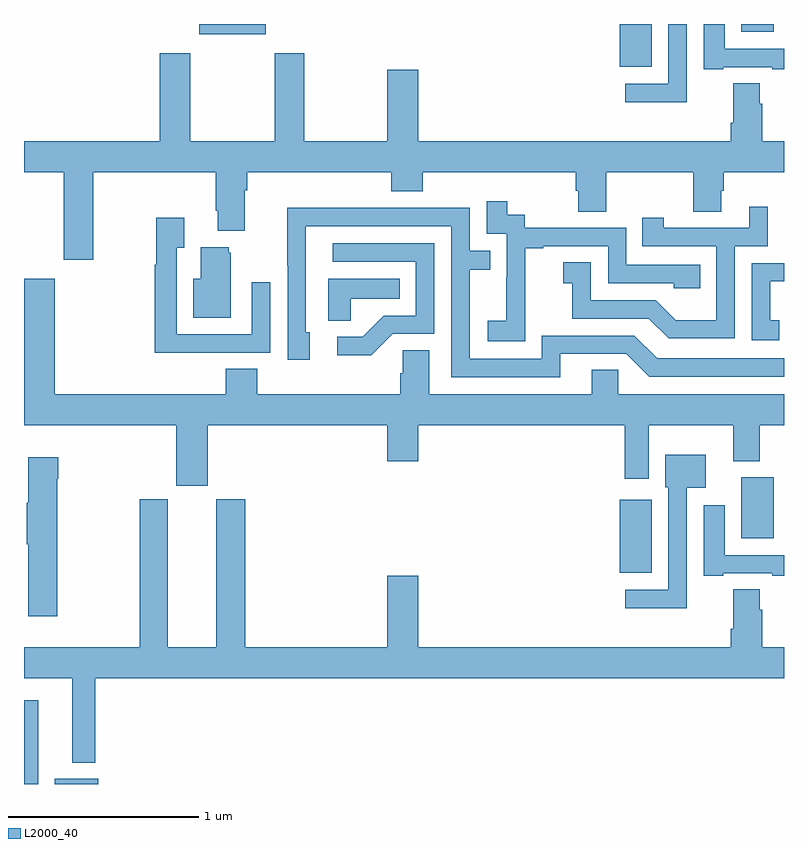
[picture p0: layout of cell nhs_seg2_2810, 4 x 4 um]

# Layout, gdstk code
import gdstk
lib = gdstk.Library(unit=1e-6, precision=1e-09)
def R(c, l, rs):  # rectangles x0, y0, x1, y1
    for r in rs: c.add(gdstk.rectangle(r[:2], r[2:], *l))
def P(c, l, *ps):  # polygons
    for p in ps: c.add(gdstk.Polygon(p, *l))
L2000_40 = (2000, 40)

nhs_seg2_2810 = lib.new_cell('nhs_seg2_2810')
R(nhs_seg2_2810, L2000_40, [(259,593.8,259.075,594.241), (259.163,593.8,259.39,593.827), (262.136,594.911,262.303,595.297), (262.775,595.094,262.945,595.414), (262.136,597.575,262.303,597.8), (259.922,597.746,260.272,597.8), (262.775,597.758,262.945,597.8)])
P(nhs_seg2_2810, L2000_40, [(262.681,597.573),(262.937,597.573),(262.937,597.561),(263,597.561),(263,597.669),(262.687,597.669),(262.687,597.8),(262.577,597.8),(262.577,597.561),(262.681,597.561)],
  [(262.488,597.8),(262.392,597.8),(262.392,597.486),(262.164,597.486),(262.164,597.389),(262.488,597.389)],
  [(263,597.184),(262.886,597.184),(262.886,597.38),(262.873,597.38),(262.873,597.488),(262.733,597.488),(262.733,597.28),(262.721,597.28),(262.721,597.184),(261.076,597.184),(261.076,597.559),(260.912,597.559),(260.912,597.184),(260.475,597.184),(260.475,597.646),(260.32,597.646),(260.32,597.184),(259.875,597.184),(259.875,597.646),(259.715,597.646),(259.715,597.184),(259,597.184),(259,597.02),(259.21,597.02),(259.21,596.559),(259.365,596.559),(259.365,597.02),(260.009,597.02),(260.009,596.818),(260.021,596.818),(260.021,596.711),(260.161,596.711),(260.161,596.924),(260.174,596.924),(260.174,597.02),(260.933,597.02),(260.933,596.921),(261.098,596.921),(261.098,597.02),(261.904,597.02),(261.904,596.922),(261.917,596.922),(261.917,596.812),(262.065,596.812),(262.065,597.02),(262.522,597.02),(262.522,596.812),(262.669,596.812),(262.669,596.922),(262.682,596.922),(262.682,597.02),(263,597.02)],
  [(261.639,596.335),(261.638,596.335),(261.638,596.619),(261.733,596.619),(261.733,596.631),(262.074,596.631),(262.074,596.436),(262.419,596.436),(262.419,596.409),(262.559,596.409),(262.559,596.532),(262.17,596.532),(262.17,596.727),(261.636,596.727),(261.636,596.796),(261.544,596.796),(261.544,596.866),(261.435,596.866),(261.435,596.697),(261.54,596.697),(261.54,596.468),(261.539,596.468),(261.539,596.239),(261.441,596.239),(261.441,596.129),(261.639,596.129)],
  [(262.74,596.631),(262.914,596.631),(262.914,596.839),(262.817,596.839),(262.817,596.727),(262.366,596.727),(262.366,596.779),(262.255,596.779),(262.255,596.631),(262.644,596.631),(262.644,596.242),(262.43,596.242),(262.326,596.346),(261.984,596.346),(261.984,596.545),(261.837,596.545),(261.837,596.435),(261.886,596.435),(261.886,596.25),(262.289,596.25),(262.394,596.145),(262.74,596.145)],
  [(261.823,596.064),(262.17,596.064),(262.29,595.944),(263,595.944),(263,596.04),(262.332,596.04),(262.212,596.16),(261.726,596.16),(261.726,596.037),(261.345,596.037),(261.345,596.506),(261.455,596.506),(261.455,596.607),(261.345,596.607),(261.345,596.832),(260.849,596.832),(260.849,596.834),(260.386,596.834),(260.386,596.527),(260.388,596.527),(260.388,596.034),(260.503,596.034),(260.503,596.178),(260.484,596.178),(260.484,596.736),(261.249,596.736),(261.249,595.941),(261.823,595.941)],
  [(259.979,596.07),(260.295,596.07),(260.295,596.44),(260.199,596.44),(260.199,596.166),(259.803,596.166),(259.803,596.623),(259.843,596.623),(259.843,596.779),(259.695,596.779),(259.695,596.534),(259.687,596.534),(259.687,596.069),(259.979,596.069)],
  [(260.94,596.169),(261.159,596.169),(261.159,596.646),(260.625,596.646),(260.625,596.55),(261.063,596.55),(261.063,596.265),(260.894,596.265),(260.783,596.154),(260.649,596.154),(260.649,596.057),(260.827,596.057)],
  [(260.089,596.595),(260.078,596.595),(260.078,596.626),(259.931,596.626),(259.931,596.458),(259.892,596.458),(259.892,596.255),(260.089,596.255)],
  [(262.976,596.241),(262.927,596.241),(262.927,596.445),(263,596.445),(263,596.541),(262.83,596.541),(262.83,596.136),(262.976,596.136)],
  [(260.721,596.354),(260.978,596.354),(260.978,596.458),(260.6,596.458),(260.6,596.239),(260.721,596.239)],
  [(259.966,595.688),(260.912,595.688),(260.912,595.5),(261.076,595.5),(261.076,595.688),(262.163,595.688),(262.163,595.407),(262.288,595.407),(262.288,595.688),(262.733,595.688),(262.733,595.499),(262.873,595.499),(262.873,595.688),(263,595.688),(263,595.852),(262.128,595.852),(262.128,595.979),(261.989,595.979),(261.989,595.852),(261.133,595.852),(261.133,596.084),(260.994,596.084),(260.994,595.961),(260.981,595.961),(260.981,595.852),(260.228,595.852),(260.228,595.985),(260.063,595.985),(260.063,595.852),(259.162,595.852),(259.162,596.458),(259,596.458),(259,595.688),(259.802,595.688),(259.802,595.371),(259.966,595.371)],
  [(262.488,595.358),(262.588,595.358),(262.588,595.534),(262.376,595.534),(262.376,595.362),(262.392,595.362),(262.392,594.822),(262.164,594.822),(262.164,594.725),(262.488,594.725)],
  [(259.176,595.406),(259.181,595.406),(259.181,595.519),(259.022,595.519),(259.022,595.28),(259.015,595.28),(259.015,595.063),(259.022,595.063),(259.022,594.684),(259.176,594.684)],
  [(259.375,594.356),(263,594.356),(263,594.52),(262.886,594.52),(262.886,594.716),(262.873,594.716),(262.873,594.824),(262.733,594.824),(262.733,594.616),(262.721,594.616),(262.721,594.52),(261.076,594.52),(261.076,594.895),(260.912,594.895),(260.912,594.52),(260.165,594.52),(260.165,595.299),(260.012,595.299),(260.012,594.52),(259.756,594.52),(259.756,595.299),(259.609,595.299),(259.609,594.52),(259,594.52),(259,594.356),(259.253,594.356),(259.253,593.912),(259.375,593.912)],
  [(262.681,594.909),(262.937,594.909),(262.937,594.897),(263,594.897),(263,595.005),(262.687,595.005),(262.687,595.267),(262.577,595.267),(262.577,594.897),(262.681,594.897)])

lib.write_gds('nhs_seg2_2810.gds')
